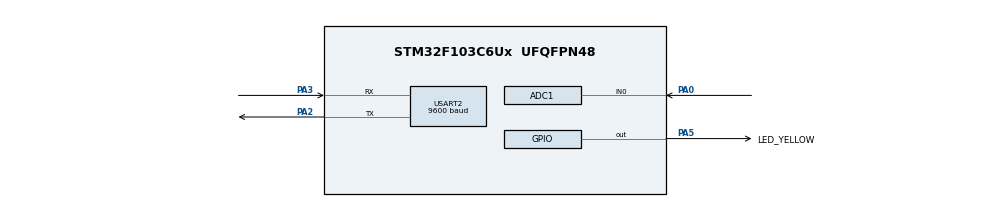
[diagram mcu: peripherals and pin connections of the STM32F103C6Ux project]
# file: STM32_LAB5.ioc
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ADC1.Channel-2\#ChannelRegularConversion=ADC_CHANNEL_0
ADC1.ContinuousConvMode=ENABLE
ADC1.NbrOfConversionFlag=1
ADC1.Rank-2\#ChannelRegularConversion=1
ADC1.SamplingTime-2\#ChannelRegularConversion=ADC_SAMPLETIME_1CYCLE_5
ADC1.master=1
Mcu.Family=STM32F1
Mcu.Name=STM32F103C6Ux
Mcu.Package=UFQFPN48
NVIC.PriorityGroup=NVIC_PRIORITYGROUP_4
NVIC.TIM2_IRQn=true\:0\:0\:false\:false\:true\:true\:true
NVIC.USART2_IRQn=true\:0\:0\:false\:false\:true\:true\:true
PA0-WKUP.Signal=ADCx_IN0
PA13.Mode=Serial_Wire
PA13.Signal=SYS_JTMS-SWDIO
PA14.Mode=Serial_Wire
PA14.Signal=SYS_JTCK-SWCLK
PA2.Mode=Asynchronous
PA2.Signal=USART2_TX
PA3.Mode=Asynchronous
PA3.Signal=USART2_RX
PA5.GPIO_Label=LED_YELLOW
PA5.Signal=GPIO_Output
ProjectManager.HeapSize=0x200
ProjectManager.StackSize=0x400
ProjectManager.TargetToolchain=STM32CubeIDE
RCC.APB1Freq_Value=8000000
RCC.APB2Freq_Value=8000000
SH.ADCx_IN0.0=ADC1_IN0,IN0
TIM2.Period=9
TIM2.Prescaler=7999
USART2.BaudRate=9600
USART2.VirtualMode=VM_ASYNC
VP_TIM2_VS_ClockSourceINT.Mode=Internal
board=custom

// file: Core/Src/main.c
/* USER CODE BEGIN Header */
/**
  ******************************************************************************
  * @file           : main.c
  * @brief          : Main program body
  ******************************************************************************
  * @attention
  *
  * <h2><center>&copy; Copyright (c) 2024 STMicroelectronics.
  * All rights reserved.</center></h2>
  *
  * This software component is licensed by ST under BSD 3-Clause license,
  * the "License"; You may not use this file except in compliance with the
  * License. You may obtain a copy of the License at:
  *                        opensource.org/licenses/BSD-3-Clause
  *
  ******************************************************************************
  */
/* USER CODE END Header */
#include "main.h"

/* USER CODE BEGIN Includes */
#include <stdio.h>
#include "command_parser.h"
#include "uart_communication.h"
#include "software_timer.h"
#include "global.h"

/* USER CODE END Includes */

ADC_HandleTypeDef hadc1;

TIM_HandleTypeDef htim2;

UART_HandleTypeDef huart2;

void SystemClock_Config(void);
static void MX_GPIO_Init(void);
static void MX_ADC1_Init(void);
static void MX_USART2_UART_Init(void);
static void MX_TIM2_Init(void);

/* USER CODE BEGIN 0 */

uint8_t temp = 0;
uint8_t buffer[MAX_BUFFER_SIZE];
uint8_t index_buffer = 0;
uint8_t buffer_flag = 0;

int isRST = 0;
int isOK = 0;

void HAL_UART_RxCpltCallback(UART_HandleTypeDef *huart) {
    if (huart->Instance == USART2) {
    	HAL_UART_Transmit(&huart2, &temp, 1, 50);
    	index_buffer++;
        buffer[index_buffer] = temp; // Lưu ký tự nhận được vào bộ đệm
        if (index_buffer == MAX_BUFFER_SIZE)
            index_buffer = 0; // Quay v�? đầu nếu đầy bộ đệm
        buffer_flag = 1; // �?ánh dấu rằng có dữ liệu mới trong bộ đệm
        HAL_UART_Receive_IT(&huart2, &temp, 1); // Bật nhận tiếp dữ liệu UART
    }
}

/* USER CODE END 0 */

int main(void)
{

  /* MCU Configuration--------------------------------------------------------*/

  /* Reset of all peripherals, Initializes the Flash interface and the Systick. */
  HAL_Init();

  /* Configure the system clock */
  SystemClock_Config();

  /* Initialize all configured peripherals */
  MX_GPIO_Init();
  MX_ADC1_Init();
  MX_USART2_UART_Init();
  MX_TIM2_Init();
  /* USER CODE BEGIN 2 */
  HAL_TIM_Base_Start_IT(&htim2);
  HAL_ADC_Start(&hadc1);
  HAL_UART_Receive_IT(&huart2, &temp, 1); // Start receiving UART data
  /* USER CODE END 2 */

  /* Infinite loop */
  /* USER CODE BEGIN WHILE */
  command_parser_init();
  uart_communication_init();
  char welcome[50];
  HAL_UART_Transmit(&huart2, (void *)welcome, sprintf(welcome, "STARTING STM32 UART LAB5\r\n"), 50);

  while (1) {
      if (buffer_flag == 1) {

          command_parser_fsm(); // phan tich lenh
          buffer_flag = 0; // dat lai co sau khi xu ly xong
      }
      uart_communication_fsm(); // xu ly giao tiep UART

    /* USER CODE END WHILE */

  }
}

void SystemClock_Config(void)
{
  RCC_OscInitTypeDef RCC_OscInitStruct = {0};
  RCC_ClkInitTypeDef RCC_ClkInitStruct = {0};
  RCC_PeriphCLKInitTypeDef PeriphClkInit = {0};

  /** Initializes the RCC Oscillators according to the specified parameters
  * in the RCC_OscInitTypeDef structure.
  */
  RCC_OscInitStruct.OscillatorType = RCC_OSCILLATORTYPE_HSI;
  RCC_OscInitStruct.HSIState = RCC_HSI_ON;
  RCC_OscInitStruct.HSICalibrationValue = RCC_HSICALIBRATION_DEFAULT;
  RCC_OscInitStruct.PLL.PLLState = RCC_PLL_NONE;
  if (HAL_RCC_OscConfig(&RCC_OscInitStruct) != HAL_OK)
  {
    Error_Handler();
  }
  /** Initializes the CPU, AHB and APB buses clocks
  */
  RCC_ClkInitStruct.ClockType = RCC_CLOCKTYPE_HCLK|RCC_CLOCKTYPE_SYSCLK
                              |RCC_CLOCKTYPE_PCLK1|RCC_CLOCKTYPE_PCLK2;
  RCC_ClkInitStruct.SYSCLKSource = RCC_SYSCLKSOURCE_HSI;
  RCC_ClkInitStruct.AHBCLKDivider = RCC_SYSCLK_DIV1;
  RCC_ClkInitStruct.APB1CLKDivider = RCC_HCLK_DIV1;
  RCC_ClkInitStruct.APB2CLKDivider = RCC_HCLK_DIV1;

  if (HAL_RCC_ClockConfig(&RCC_ClkInitStruct, FLASH_LATENCY_0) != HAL_OK)
  {
    Error_Handler();
  }
  PeriphClkInit.PeriphClockSelection = RCC_PERIPHCLK_ADC;
  PeriphClkInit.AdcClockSelection = RCC_ADCPCLK2_DIV2;
  if (HAL_RCCEx_PeriphCLKConfig(&PeriphClkInit) != HAL_OK)
  {
    Error_Handler();
  }
}

static void MX_ADC1_Init(void)
{

  ADC_ChannelConfTypeDef sConfig = {0};

  /** Common config
  */
  hadc1.Instance = ADC1;
  hadc1.Init.ScanConvMode = ADC_SCAN_DISABLE;
  hadc1.Init.ContinuousConvMode = ENABLE;
  hadc1.Init.DiscontinuousConvMode = DISABLE;
  hadc1.Init.ExternalTrigConv = ADC_SOFTWARE_START;
  hadc1.Init.DataAlign = ADC_DATAALIGN_RIGHT;
  hadc1.Init.NbrOfConversion = 1;
  if (HAL_ADC_Init(&hadc1) != HAL_OK)
  {
    Error_Handler();
  }
  /** Configure Regular Channel
  */
  sConfig.Channel = ADC_CHANNEL_0;
  sConfig.Rank = ADC_REGULAR_RANK_1;
  sConfig.SamplingTime = ADC_SAMPLETIME_1CYCLE_5;
  if (HAL_ADC_ConfigChannel(&hadc1, &sConfig) != HAL_OK)
  {
    Error_Handler();
  }

}

static void MX_TIM2_Init(void)
{

  TIM_ClockConfigTypeDef sClockSourceConfig = {0};
  TIM_MasterConfigTypeDef sMasterConfig = {0};

  htim2.Instance = TIM2;
  htim2.Init.Prescaler = 7999;
  htim2.Init.CounterMode = TIM_COUNTERMODE_UP;
  htim2.Init.Period = 9;
  htim2.Init.ClockDivision = TIM_CLOCKDIVISION_DIV1;
  htim2.Init.AutoReloadPreload = TIM_AUTORELOAD_PRELOAD_DISABLE;
  if (HAL_TIM_Base_Init(&htim2) != HAL_OK)
  {
    Error_Handler();
  }
  sClockSourceConfig.ClockSource = TIM_CLOCKSOURCE_INTERNAL;
  if (HAL_TIM_ConfigClockSource(&htim2, &sClockSourceConfig) != HAL_OK)
  {
    Error_Handler();
  }
  sMasterConfig.MasterOutputTrigger = TIM_TRGO_RESET;
  sMasterConfig.MasterSlaveMode = TIM_MASTERSLAVEMODE_DISABLE;
  if (HAL_TIMEx_MasterConfigSynchronization(&htim2, &sMasterConfig) != HAL_OK)
  {
    Error_Handler();
  }

}

static void MX_USART2_UART_Init(void)
{

  huart2.Instance = USART2;
  huart2.Init.BaudRate = 9600;
  huart2.Init.WordLength = UART_WORDLENGTH_8B;
  huart2.Init.StopBits = UART_STOPBITS_1;
  huart2.Init.Parity = UART_PARITY_NONE;
  huart2.Init.Mode = UART_MODE_TX_RX;
  huart2.Init.HwFlowCtl = UART_HWCONTROL_NONE;
  huart2.Init.OverSampling = UART_OVERSAMPLING_16;
  if (HAL_UART_Init(&huart2) != HAL_OK)
  {
    Error_Handler();
  }

}

static void MX_GPIO_Init(void)
{
  GPIO_InitTypeDef GPIO_InitStruct = {0};

  /* GPIO Ports Clock Enable */
  __HAL_RCC_GPIOA_CLK_ENABLE();

  /*Configure GPIO pin Output Level */
  HAL_GPIO_WritePin(LED_YELLOW_GPIO_Port, LED_YELLOW_Pin, GPIO_PIN_RESET);

  /*Configure GPIO pin : LED_YELLOW_Pin */
  GPIO_InitStruct.Pin = LED_YELLOW_Pin;
  GPIO_InitStruct.Mode = GPIO_MODE_OUTPUT_PP;
  GPIO_InitStruct.Pull = GPIO_NOPULL;
  GPIO_InitStruct.Speed = GPIO_SPEED_FREQ_LOW;
  HAL_GPIO_Init(LED_YELLOW_GPIO_Port, &GPIO_InitStruct);

}

/* USER CODE BEGIN 4 */
void HAL_TIM_PeriodElapsedCallback(TIM_HandleTypeDef *htim)
{
	timerRun();
}

/* USER CODE END 4 */

void Error_Handler(void)
{
  __disable_irq();
  while (1)
  {
  }
}

/************************ (C) COPYRIGHT STMicroelectronics *****END OF FILE****/
